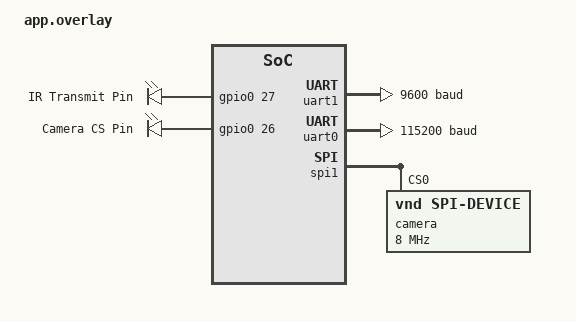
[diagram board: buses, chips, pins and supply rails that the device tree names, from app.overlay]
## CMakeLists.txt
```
# SPDX-License-Identifier: Apache-2.0

cmake_minimum_required(VERSION 3.20.0)
find_package(Zephyr REQUIRED HINTS $ENV{ZEPHYR_BASE})
project(base)

target_sources(app PRIVATE src/main.c)

target_sources(app PRIVATE src/ir.c)
target_sources(app PRIVATE src/cam.c)
```

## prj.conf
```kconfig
CONFIG_GPIO=y
CONFIG_SPI=y
CONFIG_PWM=y
CONFIG_PRINTK=y
CONFIG_SHELL=y
CONFIG_LOG=y
CONFIG_LOG_CMDS=y
CONFIG_INIT_STACKS=y
CONFIG_THREAD_STACK_INFO=y
CONFIG_KERNEL_SHELL=y
CONFIG_THREAD_MONITOR=y
CONFIG_BOOT_BANNER=n
CONFIG_THREAD_NAME=y
CONFIG_DEVICE_SHELL=y
CONFIG_POSIX_CLOCK=y
CONFIG_DATE_SHELL=y
CONFIG_THREAD_RUNTIME_STATS=y
CONFIG_THREAD_RUNTIME_STATS_USE_TIMING_FUNCTIONS=y
CONFIG_STATS=y
CONFIG_STATS_SHELL=y
CONFIG_SERIAL=y
CONFIG_UART_ASYNC_API=y
CONFIG_BT_SHELL=y
```

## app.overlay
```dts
&uart1 {
     status = "okay";
     current-speed = <9600>;
};

&uart0 {
     current-speed = <115200>;
};

/ {
     aliases {
          ir = &ir_send;
          cs = &cs_pin;
     };

     leds {
          ir_send: ir_send {
               status = "okay";
               gpios = <&gpio0 27 (GPIO_PULL_DOWN | GPIO_ACTIVE_HIGH)>;
               label = "IR Transmit Pin";
          };
          cs_pin: cs_pin {
               status = "okay";
               gpios = <&gpio0 26 (GPIO_PULL_DOWN | GPIO_ACTIVE_HIGH)>;
               label = "Camera CS Pin";
          };

          
     };
};

/ {
     data {
          aliases {
               irp = &irpwm;
          };

          irpwm: irpwm {
               pwms = <&pwm0 0 PWM_MSEC(20) PWM_POLARITY_NORMAL>;
               label = "irpwm";
          };
     };
};

&spi1 {
     status = "okay";
     pinctrl-0 = <&spi2_default>;
     pinctrl-1 = <&spi2_sleep>;
     pinctrl-names = "default", "sleep";
     camera: camera@0 {
             compatible = "vnd,spi-device";
             reg = <0>;
             spi-max-frequency = <8000000>;
             label = "camera";
     };
};

&pinctrl {
     spi1_default: spi1_default {
          group1 {
               psels = <NRF_PSEL(SPIM_SCK, 0, 31)>,
                    <NRF_PSEL(SPIM_MOSI, 0, 30)>,
                    <NRF_PSEL(SPIM_MISO, 1, 8)>;
          };
     };

     spi1_sleep: spi1_sleep {
          group1 {
               psels = <NRF_PSEL(SPIM_SCK, 0, 31)>,
                    <NRF_PSEL(SPIM_MOSI, 0, 30)>,
                    <NRF_PSEL(SPIM_MISO, 1, 8)>;
               low-power-enable;
          };
     };
};
```

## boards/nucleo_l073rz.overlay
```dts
/ {
    model = "Nordic nRF52840 DK NRF52840";
	compatible = "nordic,nrf52840-dk-nrf52840";

    ir_send: ir_trans {
        compatible = "nordic,nrf52840-dk-nrf52840";
        status = "okay";
        gpios = <&gpio0 27 GPIO_ACTIVE_LOW>;
        label = "IR Transmit Pin";
    };
};
```

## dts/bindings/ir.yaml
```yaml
# Copyright (c) 2023 Libre Solar Technologies GmbH
# SPDX-License-Identifier: Apache-2.0

description: GPIO pin to switch a power output on or off

compatible: "ir_trans"

properties:
  gpios:
    type: phandle-array
    required: true
    description: |
      The GPIO connected to the gate driver for the MOSFET.
```

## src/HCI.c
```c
#include "HCI.h"

/*
 * LEGACY CODE
 * Formats and sends a packer over UART
 */
void send_request(char *cmd, char *data) {
  int len = strlen(data);
  uart_poll_out(uart_pin, PREAMBLE);
  uart_poll_out(uart_pin, REQUEST << 4 | (2 + len));

  uart_poll_out(uart_pin, cmd[0]);
  uart_poll_out(uart_pin, cmd[1]);
  for (int i = 0; i < len; i++) {
    uart_poll_out(uart_pin, data[i]);
  }
  uart_poll_out(uart_pin, END);
}

/*
 * Formats a struct and sends it as a packet over UART
 */
void send_command(char *data) {
  struct packet test;
  int len = strlen(data);
  // Set predefined struct values
  test.preamble = 0xAA;
  test.typeSize = REQUEST << 4 | (2 + len);
  test.end = END;
  // Copies data argument to data field
  for (int i = 0; i < 32; ++i) {
    test.data[i] = data[i];
  }
  if (data[1] != 0xA7) {
    test.data[9] = 0;
  }

  // Converts struct to a str to be sent
  char buffer[sizeof(struct packet) + 1];
  memcpy(buffer, &test, sizeof(struct packet));
  // Send each byte of str
  for (int i = 0; i < 35; i++) {
    uart_poll_out(uart_pin, buffer[i]);
  }
}

/* receive buffer used in UART ISR callback */
static char rx_buf[MSG_SIZE];
static int rx_buf_pos;

/*
 * Read characters from UART until line end is detected. Afterwards push the
 * data to the message queue.
 */
char *serial_cb(const struct device *dev, void *user_data) {
  uint8_t c;

  if (!uart_irq_update(uart_pin)) {
    return NULL;
  }

  if (!uart_irq_rx_ready(uart_pin)) {
    return NULL;
  }

  /* read until FIFO empty */
  while (uart_fifo_read(uart_pin, &c, 1) == 1) {
    if ((c == '\n' || c == '\r') && rx_buf_pos > 0) {
      /* terminate string */
      rx_buf[rx_buf_pos] = '\0';

      /* if queue is full, message is silently dropped */
      // k_msgq_put(&uart_msgq, &rx_buf, K_NO_WAIT);

      /* reset the buffer (it was copied to the msgq) */
      rx_buf_pos = 0;
    } else if (rx_buf_pos < (sizeof(rx_buf) - 1)) {
      rx_buf[rx_buf_pos++] = c;
    }
    /* else: characters beyond buffer size are dropped */
  }
  return NULL;
}
```

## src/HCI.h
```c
#ifndef HCI_H_
#define HCI_H_

#include <stdio.h>
#include <stdlib.h>
#include <string.h>
#include <zephyr/drivers/gpio.h>
#include <zephyr/drivers/uart.h>
#include <zephyr/kernel.h>
#include <zephyr/shell/shell.h>

#ifdef __cplusplus
extern "C" {
#endif

#define UART_SHELL_NODE DT_CHOSEN(zephyr_shell_uart)
#define UART_PIN_NODE DT_NODELABEL(uart1)

#define PREAMBLE 0xAA
#define REQUEST 0x01
#define RESPONSE 0x02
#define END 0x55

#define LED_DID 1
#define PB_DID 2
#define DAC 3
#define LCP 4
#define TEMP 5
#define HUMID 6
#define AIR 7
#define TVOC 8
#define SD 13

#define MSG_SIZE 32

static const struct device *const uart_dev = DEVICE_DT_GET(UART_SHELL_NODE);
static const struct device *const uart_pin = DEVICE_DT_GET(UART_PIN_NODE);

extern struct packet {
  __uint8_t preamble;
  __uint8_t typeSize;
  __uint8_t data[32];
  __uint8_t end;
};

extern void send_request(char *cmd, char *data);
void send_command(char *data);
char *serial_cb(const struct device *dev, void *user_data);

#ifdef __cplusplus
}
#endif

#endif
```

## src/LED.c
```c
#include "LED.h"
#include "log.h"

/*
 * A build error on this line means your board is unsupported.
 * See the sample documentation for information on how to fix this.
 */
static const struct gpio_dt_spec led0 = GPIO_DT_SPEC_GET(LED0_NODE, gpios);
static const struct gpio_dt_spec led1 = GPIO_DT_SPEC_GET(LED1_NODE, gpios);
static const struct gpio_dt_spec led2 = GPIO_DT_SPEC_GET(LED2_NODE, gpios);
static const struct gpio_dt_spec led3 = GPIO_DT_SPEC_GET(LED3_NODE, gpios);
static const struct gpio_dt_spec LEDs[] = {led0, led1, led2, led3};

/* Create a set of commands. Commands to this set are added using @ref
 * SHELL_SUBCMD_ADD and @ref SHELL_SUBCMD_COND_ADD.
 */
SHELL_SUBCMD_SET_CREATE(sub_section_cmd0, (led));
/* Create a set of subcommands for "led". */
SHELL_SUBCMD_SET_CREATE(sub_section_cmd1, (led, s, t));

/* Add command to the set. Subcommand set is identify by parent shell command.
 */
SHELL_SUBCMD_ADD((led), s, &sub_section_cmd1, "Switch", switch_handler, 2, 0);
SHELL_SUBCMD_ADD((led), t, &sub_section_cmd1, "Toggle", toggle_handler, 2, 0);

SHELL_CMD_REGISTER(led, &sub_section_cmd0, "Control board LEDs", NULL);

/*
 * Switches LED to specified state
 */
void switch_handler(const struct shell *sh, size_t argc, char **argv) {
  ARG_UNUSED(sh);
  check_command(argc, argv);
  static int prev[4] = {0, 0, 0, 0};

  for (int i = 0; i < 4; i++) {
    if (argv[1][i] == 48) {
      gpio_pin_set_dt(&LEDs[i], 0);
      show_state(i, 0, prev[i]);
      prev[i] = 0;
    } else if (argv[1][i] == 49) {
      gpio_pin_set_dt(&LEDs[i], 1);
      show_state(i, 1, prev[i]);
      prev[i] = 1;
    }
  }
}

/*
 * Toggles specified LED
 */
void toggle_handler(const struct shell *sh, size_t argc, char **argv) {
  ARG_UNUSED(sh);
  check_command(argc, argv);
  int state = 0;

  for (int i = 0; i < 4; i++) {
    if (argv[1][i] == 49) {
      gpio_pin_toggle_dt(&LEDs[i]);
      state = gpio_pin_get_dt(&LEDs[i]);
      show_state(i, state, -1);
    }
  }
}

int LED_init(void) {
  // Init LEDs
  if (!gpio_is_ready_dt(&led0) || !gpio_is_ready_dt(&led1) ||
      !gpio_is_ready_dt(&led2) || !gpio_is_ready_dt(&led3)) {
    return 0;
  }

  if (gpio_pin_configure_dt(&led0, GPIO_OUTPUT_ACTIVE) < 0 ||
      gpio_pin_configure_dt(&led1, GPIO_OUTPUT_ACTIVE) < 0 ||
      gpio_pin_configure_dt(&led2, GPIO_OUTPUT_ACTIVE) < 0 ||
      gpio_pin_configure_dt(&led3, GPIO_OUTPUT_ACTIVE) < 0) {
    return 0;
  }
  return 1;
}
```

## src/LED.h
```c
#ifndef LED_H_
#define LED_H_

#include <stdlib.h>
#include <zephyr/drivers/gpio.h>
#include <zephyr/kernel.h>
#include <zephyr/shell/shell.h>

#ifdef __cplusplus
extern "C" {
#endif

/* The devicetree node identifier for the "led0" alias. */
#define LED0_NODE DT_ALIAS(led0)
#define LED1_NODE DT_ALIAS(led1)
#define LED2_NODE DT_ALIAS(led2)
#define LED3_NODE DT_ALIAS(led3)

void switch_handler(const struct shell *sh, size_t argc, char **argv);
void toggle_handler(const struct shell *sh, size_t argc, char **argv);
void led_handler(const struct shell *sh, size_t argc, char **argv);
extern int LED_init(void);

#ifdef __cplusplus
}
#endif

#endif
```

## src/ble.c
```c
#include "ble.h"

uint32_t last_write_rate;
struct bt_conn *conn_connected;
static sys_slist_t static_nodes;

SHELL_SUBCMD_SET_CREATE(sub_section_cmd2, (add));
SHELL_SUBCMD_SET_CREATE(sub_section_cmd4, (rmv));
SHELL_SUBCMD_SET_CREATE(sub_section_cmd6, (inspect));

struct node {
  char name[7];
  char mac[18];
  uint16_t major;
  uint16_t minor;
  uint8_t x_coord;
  uint8_t y_coord;
  char left_name[7];
  char right_name[7];
  sys_snode_t next;
};

struct node node_1;
struct node node_2;
struct node node_3;
struct node node_4;
struct node node_5;
struct node node_6;
struct node node_7;
struct node node_8;

/**
 * Handles device discovery and filtering
 */
static void device_found(const bt_addr_le_t *addr, int8_t rssi, uint8_t type,
                         struct net_buf_simple *ad) {
  char dev[BT_ADDR_LE_STR_LEN];
  char dev_reduce[BT_ADDR_LE_STR_LEN];

  bt_addr_le_to_str(addr, dev, sizeof(dev));
  strcpy(dev_reduce, dev);
  dev_reduce[17] = '\0';
  if (!strcmp("D4:7E:C0:32:90:82", dev_reduce)) {
    struct node *cur0;
    SYS_SLIST_FOR_EACH_CONTAINER(&static_nodes, cur0, next) {
      if (cur0->name[5] == ad->data[23]) {
        printf("bruv:%02X%02X%02X%02X\n", ad->data[22], ad->data[23],
               ad->data[24], ad->data[25]);
      }
    }
  }
}

/*
 * Initiallisies the scanning procedure
 */
void start_scan(void) {
  int err;

  /* Use active scanning and disable duplicate filtering to handle any
   * devices that might update their advertising data at runtime. */
  struct bt_le_scan_param scan_param = {
      .type = BT_LE_SCAN_TYPE_ACTIVE,
      .options = BT_LE_SCAN_OPT_NONE,
      .interval = BT_GAP_SCAN_FAST_INTERVAL,
      .window = BT_GAP_SCAN_FAST_WINDOW,
  };

  err = bt_le_scan_start(&scan_param, device_found);
  if (err) {
    printf("Scanning failed to start (err %d)\n", err);
    return;
  }

  printf("Scanning successfully started\n");
}

static void init_node_list(void) {
  sys_slist_init(&static_nodes);

  strcpy(node_1.name, "4011-A");
  strcpy(node_1.mac, "F5:75:FE:85:34:67");
  node_1.major = 2753;
  node_1.minor = 32998;
  node_1.x_coord = 0;
  node_1.y_coord = 0;

  strcpy(node_2.name, "4011-B");
  strcpy(node_2.mac, "E5:73:87:06:1E:86");
  node_2.major = 32975;
  node_2.minor = 20959;
  node_2.x_coord = 2;
  node_2.y_coord = 0;

  strcpy(node_3.name, "4011-C");
  strcpy(node_3.mac, "CA:99:9E:FD:98:B1");
  node_3.major = 26679;
  node_3.minor = 40363;
  node_3.x_coord = 4;
  node_3.y_coord = 0;

  strcpy(node_4.name, "4011-D");
  strcpy(node_4.mac, "CB:1B:89:82:FF:FE");
  node_4.major = 41747;
  node_4.minor = 38800;
  node_4.x_coord = 4;
  node_4.y_coord = 2;

  strcpy(node_5.name, "4011-E");
  strcpy(node_5.mac, "D4:D2:A0:A4:5C:AC");
  node_5.major = 30679;
  node_5.minor = 51963;
  node_5.x_coord = 4;
  node_5.y_coord = 4;

  strcpy(node_6.name, "4011-F");
  strcpy(node_6.mac, "C1:13:27:E9:B7:7C");
  node_6.major = 6195;
  node_6.minor = 18394;
  node_6.x_coord = 2;
  node_6.y_coord = 4;

  strcpy(node_7.name, "4011-G");
  strcpy(node_7.mac, "F1:04:48:06:39:A0");
  node_7.major = 30525;
  node_7.minor = 30544;
  node_7.x_coord = 0;
  node_7.y_coord = 4;

  strcpy(node_8.name, "4011-H");
  strcpy(node_8.mac, "CA:0C:E0:DB:CE:60");
  node_8.major = 57395;
  node_8.minor = 28931;
  node_8.x_coord = 0;
  node_8.y_coord = 2;
}

/*
 * Initialises bluetooth
 */
int bt_init(void) {
  init_node_list();
  int err;

  err = bt_enable(NULL);
  if (err) {
    printk("Bluetooth init failed (err %d)\n", err);
    return 0U;
  }
  printk("Bluetooth initialized\n");

  conn_connected = NULL;
  last_write_rate = 0U;
  return 0;
}

/**
 * Updates whole linked list with new neighbours
 */
void update_neighbours(void) {
  struct node *cur1;
  struct node *cur0;
  SYS_SLIST_FOR_EACH_CONTAINER(&static_nodes, cur0, next) {
    char right_node[8];
    int right_mag = 100; // Lowest positive magnitude is right neighbour
    int right_temp = 0;
    char left_node[8];
    int left_mag = 100; // Lowest negative magnitude is left neighbour
    int left_temp = 0;
    SYS_SLIST_FOR_EACH_CONTAINER(&static_nodes, cur1, next) {
      if (strcmp(cur0->name, cur1->name)) {
        // Set initial values
        if (strlen(right_node) == 0) {
          strcpy(right_node, cur1->name);
          strcpy(left_node, cur1->name);
        } else {
          // Get magnitude from target node without negatives
          left_temp = cur0->name[5] - cur1->name[5];
          if (left_temp < 0) {
            left_temp = left_temp + 8;
          }
          right_temp = cur1->name[5] % 8 + cur0->name[5] % 8;
          if (right_temp < cur0->name[5] % 8 * 2) {
            right_temp = right_temp + 8;
          }

          // Check if other ibeacon nodes have smaller magnitudes
          if (right_temp < right_mag) {
            // Save new neighbour and it's magnitude
            right_mag = right_temp;
            strcpy(right_node, cur1->name);
          }
          if (left_temp < left_mag) {
            left_mag = left_temp;
            strcpy(left_node, cur1->name);
          }
        }
      }
    }
    strcpy(cur0->left_name, left_node);
    strcpy(cur0->right_name, right_node);
  }
}

/**
 * Adds the selected node to the linked list
 */
void add_handler(const struct shell *sh, size_t argc, char **argv) {
  // Append the appropriate predefined node
  if (!strcmp(argv[1], "4011-A")) {
    sys_slist_append(&static_nodes, &node_1.next);
  } else if (!strcmp(argv[1], "4011-B")) {
    sys_slist_append(&static_nodes, &node_2.next);
  } else if (!strcmp(argv[1], "4011-C")) {
    sys_slist_append(&static_nodes, &node_3.next);
  } else if (!strcmp(argv[1], "4011-D")) {
    sys_slist_append(&static_nodes, &node_4.next);
  } else if (!strcmp(argv[1], "4011-E")) {
    sys_slist_append(&static_nodes, &node_5.next);
  } else if (!strcmp(argv[1], "4011-F")) {
    sys_slist_append(&static_nodes, &node_6.next);
  } else if (!strcmp(argv[1], "4011-G")) {
    sys_slist_append(&static_nodes, &node_7.next);
  } else if (!strcmp(argv[1], "4011-H")) {
    sys_slist_append(&static_nodes, &node_8.next);
  } else {
    printf("[nrf] [ERR] Not a valid node\n");
  }
  update_neighbours();
}

/**
 * Removes the selected node to the linked list
 */
void rmv_handler(const struct shell *sh, size_t argc, char **argv) {
  // Remove the appropriate predefined node
  if (!strcmp(argv[1], "4011-A")) {
    sys_slist_find_and_remove(&static_nodes, &node_1.next);
  } else if (!strcmp(argv[1], "4011-B")) {
    sys_slist_find_and_remove(&static_nodes, &node_2.next);
  } else if (!strcmp(argv[1], "4011-C")) {
    sys_slist_find_and_remove(&static_nodes, &node_3.next);
  } else if (!strcmp(argv[1], "4011-D")) {
    sys_slist_find_and_remove(&static_nodes, &node_4.next);
  } else if (!strcmp(argv[1], "4011-E")) {
    sys_slist_find_and_remove(&static_nodes, &node_5.next);
  } else if (!strcmp(argv[1], "4011-F")) {
    sys_slist_find_and_remove(&static_nodes, &node_6.next);
  } else if (!strcmp(argv[1], "4011-G")) {
    sys_slist_find_and_remove(&static_nodes, &node_7.next);
  } else if (!strcmp(argv[1], "4011-H")) {
    sys_slist_find_and_remove(&static_nodes, &node_8.next);
  } else {
    printf("[nrf] [ERR] Not a valid node\n");
  }
  update_neighbours();
}

/**
 * Displays all ibeacon node details for a specified node name, or all nodes if
 * -a is included
 */
void inspect_handler(const struct shell *sh, size_t argc, char **argv) {
  struct node *cur;
  SYS_SLIST_FOR_EACH_CONTAINER(&static_nodes, cur, next) {
    if (!strcmp(argv[1], "-a")) {
      printf("[nrf] Name: %s, BLE Addr: %s, Major: %d, Minor: %d, Coord: [%d, "
             "%d], "
             "Left Node: %s, Right Node: %s\n",
             cur->name, cur->mac, cur->major, cur->minor, cur->x_coord,
             cur->y_coord, cur->left_name, cur->right_name);
    } else if (!strcmp(argv[1], cur->name)) {
      printf("[nrf] Name: %s, BLE Addr: %s, Major: %d, Minor: %d, Coord: [%d, "
             "%d], "
             "Left Node: %s, Right Node: %s\n",
             cur->name, cur->mac, cur->major, cur->minor, cur->x_coord,
             cur->y_coord, cur->left_name, cur->right_name);
    }
  }
}

SHELL_SUBCMD_SET_CREATE(sub_section_cmd1, (add, name, mac, maj, min, x, y));
SHELL_SUBCMD_SET_CREATE(sub_section_cmd3, (rmv, name));
SHELL_SUBCMD_SET_CREATE(sub_section_cmd5, (inspect, a));

SHELL_CMD_REGISTER(add, &sub_section_cmd2, "Add an ibeacon node", add_handler);
SHELL_CMD_REGISTER(rmv, &sub_section_cmd4, "Remove an ibeacon node",
                   rmv_handler);
SHELL_CMD_REGISTER(inspect, &sub_section_cmd6,
                   "View an ibeacon node details (use -a to view all)",
                   inspect_handler);
```

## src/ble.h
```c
#ifndef BLE_H_
#define BLE_H_

#include <zephyr/kernel.h>
#include <zephyr/sys/printk.h>

#include <zephyr/bluetooth/bluetooth.h>
#include <zephyr/bluetooth/conn.h>
#include <zephyr/bluetooth/gatt.h>
#include <zephyr/shell/shell.h>
#include <zephyr/sys/slist.h>

#ifdef __cplusplus
extern "C" {
#endif

extern void start_scan(void);
extern int bt_init(void);

#ifdef __cplusplus
}
#endif

#endif
```

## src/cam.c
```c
#include "cam.h"

#define SPI_OP  SPI_OP_MODE_MASTER |SPI_MODE_CPOL | SPI_MODE_CPHA | SPI_WORD_SET(8) | SPI_LINES_SINGLE
#define BUF_SIZE 32

static const struct gpio_dt_spec gpio_dev= GPIO_DT_SPEC_GET(DT_NODELABEL(cs_pin), gpios);
const struct spi_dt_spec cam_dev = SPI_DT_SPEC_GET(DT_NODELABEL(camera), SPI_OP, 0);

static __aligned(32) char buffer_tx[BUF_SIZE];
static __aligned(32) char buffer_rx[BUF_SIZE];


const struct spi_buf tx_bufs[] = {
	/* According to documentation, when sending NULL tx buf -
	 *  NOP frames should be sent on MOSI line
	 */
	{
		.buf = buffer_tx,
		.len = BUF_SIZE,
	},
};
const struct spi_buf rx_bufs[] = {
	{
		.buf = buffer_rx,
		.len = BUF_SIZE,
	},
};
const struct spi_buf_set tx = {
	.buffers = tx_bufs,
	.count = ARRAY_SIZE(tx_bufs)
};
const struct spi_buf_set rx = {
	.buffers = rx_bufs,
	.count = ARRAY_SIZE(rx_bufs)
};

void cam_init(void) {
    int ret;
	printf("Camera Initialising\n");

    /* Setup CS Pin */
    if (!gpio_is_ready_dt(&gpio_dev)) {
        printf("Error: GPIO device not found\n");
        return;
    }

    ret = gpio_pin_configure_dt(&gpio_dev, GPIO_OUTPUT_ACTIVE);
	if (ret < 0) {
		return;
	}
	gpio_pin_set_dt(&gpio_dev, 1);

	/* Setup SPI pins*/

    ret = spi_read_dt(&cam_dev, &rx);
    if (ret) { printf("spi_read status: %d", ret); }
	/* Turn camera on */
	memset(buffer_tx, 0x0205, BUF_SIZE);
	gpio_pin_set_dt(&gpio_dev, 0);
	ret = spi_write_dt(&cam_dev, &tx);
	if (ret) { printf("spi_read status: %d", ret); }
	gpio_pin_set_dt(&gpio_dev, 1);
	k_sleep(K_MSEC(10));
	/* Set resolution */
	memset(buffer_tx, 0x2101, BUF_SIZE);
	gpio_pin_set_dt(&gpio_dev, 0);
	spi_write_dt(&cam_dev, &tx);
	gpio_pin_set_dt(&gpio_dev, 1);
	printf("Camera Initialised\n");
}

void write_cmd(void) {
	int ret;
	memset(buffer_tx, 0x0681, BUF_SIZE);
	gpio_pin_set_dt(&gpio_dev, 0);
	spi_write_dt(&cam_dev, &tx);
	gpio_pin_set_dt(&gpio_dev, 1);

	gpio_pin_set_dt(&gpio_dev, 0);
	ret = spi_read_dt(&cam_dev, &rx);
	if (ret) { printf("spi_read status: %d", ret); }
	k_sleep(K_MSEC(1000));
	gpio_pin_set_dt(&gpio_dev, 1);


	printf("trying to read: %x\n", (int)buffer_rx);
}
```

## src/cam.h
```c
#ifndef CAM_H_
#define CAM_H_

#include <stdio.h>
#include <zephyr/devicetree.h>
#include <zephyr/drivers/spi.h>
#include <zephyr/drivers/gpio.h>
#include <zephyr/kernel.h>
#include <zephyr/device.h>

#ifdef __cplusplus
extern "C" {
#endif

void cam_init(void);
void write_cmd(void);

#ifdef __cplusplus
}
#endif

#endif
```

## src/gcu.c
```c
#include "gcu.h"
#include "log.h"

/* Create a set of commands. Commands to this set are added using @ref
 * SHELL_SUBCMD_ADD and @ref SHELL_SUBCMD_COND_ADD.
 */
SHELL_SUBCMD_SET_CREATE(sub_section_cmd4, (point));
SHELL_SUBCMD_SET_CREATE(sub_section_cmd6, (circle));
SHELL_SUBCMD_SET_CREATE(sub_section_cmd8, (lj));
SHELL_SUBCMD_SET_CREATE(sub_section_cmd10, (dac));
SHELL_SUBCMD_SET_CREATE(sub_section_cmd12, (gled));
SHELL_SUBCMD_SET_CREATE(sub_section_cmd14, (gpb));
// SHELL_SUBCMD_SET_CREATE(sub_section_cmd16, (blescan));
// SHELL_SUBCMD_SET_CREATE(sub_section_cmd18, (blecon));
SHELL_SUBCMD_SET_CREATE(sub_section_cmd20, (gcugraph));
SHELL_SUBCMD_SET_CREATE(sub_section_cmd22, (gcumeter));
SHELL_SUBCMD_SET_CREATE(sub_section_cmd24, (gcunumeric));
SHELL_SUBCMD_SET_CREATE(sub_section_cmd26, (gcurec));

struct sensorPlot flags;

/*
 * Creates point at specified coordinate
 */
void point_handler(const struct shell *sh, size_t argc, char **argv) {
  ARG_UNUSED(sh);
  if (check_command(argc, argv)) {
    return;
  }
  char buffer[1024];
  char x[4];
  char y[4];
  /* If input number is single digit, add .0 to string */
  if (!strchr(argv[1], '.')) {
    snprintf(x, 4, "%c.0", argv[1][0]);
  } else {
    strcpy(x, argv[1]);
  }
  if (!strchr(argv[2], '.')) {
    snprintf(y, 4, "%c.0", argv[2][0]);
  } else {
    strcpy(y, argv[2]);
  }
  snprintf(buffer, sizeof(buffer), "%c%c%c%c%c%c", x[0], x[1], x[2], y[0], y[1],
           y[2]);
  send_request("PO", buffer);
}

/*
 * Creates circle at specified coordinate
 */
void circle_handler(const struct shell *sh, size_t argc, char **argv) {
  ARG_UNUSED(sh);
  if (check_command(argc, argv)) {
    return;
  }
  char buffer[1024];
  char x[4];
  char y[4];
  char r[4];
  /* If input number is single digit, add .0 to string */
  if (!strchr(argv[1], '.')) {
    snprintf(r, 4, "%c.0", argv[1][0]);
  } else {
    strcpy(r, argv[1]);
  }
  if (!strchr(argv[2], '.')) {
    snprintf(x, 4, "%c.0", argv[2][0]);
  } else {
    strcpy(x, argv[2]);
  }
  if (!strchr(argv[3], '.')) {
    snprintf(y, 4, "%c.0", argv[3][0]);
  } else {
    strcpy(y, argv[3]);
  }
  snprintf(buffer, sizeof(buffer), "%c%c%c%c%c%c%c%c%c", r[0], r[1], r[2], x[0],
           x[1], x[2], y[0], y[1], y[2]);
  send_request("CI", buffer);
}

/*
 * Create curve at specified coordinate
 */
void lj_handler(const struct shell *sh, size_t argc, char **argv) {
  ARG_UNUSED(sh);
  if (check_command(argc, argv)) {
    return;
  }
  char buffer[1024];
  char a[4];
  char b[4];
  char t[4];
  /* If input number is single digit, add .0 to string */
  if (!strchr(argv[1], '.')) {
    snprintf(a, 4, "%c.0", argv[1][0]);
  } else {
    strcpy(a, argv[1]);
  }
  if (!strchr(argv[2], '.')) {
    snprintf(b, 4, "%c.0", argv[2][0]);
  } else {
    strcpy(b, argv[2]);
  }
  if (!strchr(argv[3], '.')) {
    snprintf(t, 4, "%c.0", argv[3][0]);
  } else {
    strcpy(t, argv[3]);
  }
  snprintf(buffer, sizeof(buffer), "%c%c%c%c%c%c%c%c%c", a[0], a[1], a[2], b[0],
           b[1], b[2], t[0], t[1], t[2]);
  send_request("LJ", buffer);
}

/*
 * Sets dac to a specific voltage
 */
void dac_handler(const struct shell *sh, size_t argc, char **argv) {
  ARG_UNUSED(sh);
  if (check_command(argc, argv)) {
    return;
  }
  char buffer[1024];
  char x[4];
  char y[4];
  /* If input number is single digit, add .0 to string */
  if (!strchr(argv[1], '.')) {
    snprintf(x, 4, "%c.0", argv[1][0]);
  } else {
    strcpy(x, argv[1]);
  }
  if (!strchr(argv[2], '.')) {
    snprintf(y, 4, "%c.0", argv[2][0]);
  } else {
    strcpy(y, argv[2]);
  }
  snprintf(buffer, sizeof(buffer), "%c%c%c%c%c%c", x[0], x[1], x[2], y[0], y[1],
           y[2]);
  send_request("DA", buffer);
}

/*
 * Toggles the GCUs LEDs
 */
void gled_handler(const struct shell *sh, size_t argc, char **argv) {
  ARG_UNUSED(sh);
  if (check_command(argc, argv)) {
    return;
  }
  char buffer[1024];
  char r[4];
  char g[4];
  char b[4];
  /* If input number is single digit, add .0 to string */
  if (!strchr(argv[1], '.')) {
    snprintf(r, 4, "%c.0", argv[1][0]);
  } else {
    strcpy(r, argv[1]);
  }
  if (!strchr(argv[2], '.')) {
    snprintf(g, 4, "%c.0", argv[2][0]);
  } else {
    strcpy(g, argv[2]);
  }
  if (!strchr(argv[3], '.')) {
    snprintf(b, 4, "%c.0", argv[3][0]);
  } else {
    strcpy(b, argv[3]);
  }
  snprintf(buffer, sizeof(buffer), "%c%c%c%c%c%c%c%c%c", r[0], r[1], r[2], g[0],
           g[1], g[2], b[0], b[1], b[2]);
  send_request("GL", buffer);
}

/*
 * Requests for push button status on GCU
 */
void gpd_handler(const struct shell *sh, size_t argc, char **argv) {
  ARG_UNUSED(sh);
  if (check_command(argc, argv)) {
    return;
  }
  char buffer[1024];
  send_request("GP", buffer);
}

/*
 * Scans for bluetooth connections with a filtered address
 */
void blescan_f_handler(const struct shell *sh, size_t argc, char **argv) {
  ARG_UNUSED(sh);
  ARG_UNUSED(argc);
  ARG_UNUSED(argv);
  shell_print(sh, "ble f\n");
}
/*
 * Scans for all bluetooth connections
 */
void blescan_handler(const struct shell *sh, size_t argc, char **argv) {
  ARG_UNUSED(sh);
  ARG_UNUSED(argc);
  ARG_UNUSED(argv);
  shell_print(sh, "ble non f\n");
}

/*
 * Commences recieval of sensor data from connected device
 */
void blecon_handler(const struct shell *sh, size_t argc, char **argv) {
  ARG_UNUSED(sh);
  ARG_UNUSED(argc);
  ARG_UNUSED(argv);
  shell_print(sh, "blecon p\n");
}

/*
 * Halts data flow from connected device
 */
void blecon_s_handler(const struct shell *sh, size_t argc, char **argv) {
  ARG_UNUSED(sh);
  ARG_UNUSED(argc);
  ARG_UNUSED(argv);
  shell_print(sh, "blecon p\n");
}

/*
 * Informs GCU to plot the sensor data to a graph
 */
void gcugraph_handler(const struct shell *sh, size_t argc, char **argv) {
  ARG_UNUSED(sh);
  ARG_UNUSED(argc);
  char buffer[32] = {0};
  flags.display = GRAPH;
  buffer[0] = GRAPH;
  // Add sensor device to data field
  if (!strcmp("Temp", argv[1])) {
    flags.sensor = TEMP;
    buffer[1] = TEMP;
  } else if (!strcmp("Humidity", argv[1])) {
    flags.sensor = HUMID;
    buffer[1] = HUMID;
  } else if (!strcmp("Pressure", argv[1])) {
    flags.sensor = AIR;
    buffer[1] = AIR;
  } else if (!strcmp("TVOC", argv[1])) {
    flags.sensor = TVOC;
    buffer[1] = TVOC;
  }
  send_command(buffer);
}

/*
 * Informs the GCU to plot the sensor data as a meter
 */
void gcumeter_handler(const struct shell *sh, size_t argc, char **argv) {
  ARG_UNUSED(sh);
  ARG_UNUSED(argc);
  char buffer[32] = {0};
  flags.display = METER;
  buffer[0] = METER;
  // Add sensor device to data field
  if (!strcmp("Temp", argv[1])) {
    flags.sensor = TEMP;
    buffer[1] = TEMP;
  } else if (!strcmp("Humidity", argv[1])) {
    flags.sensor = HUMID;
    buffer[1] = HUMID;
  } else if (!strcmp("Pressure", argv[1])) {
    flags.sensor = AIR;
    buffer[1] = AIR;
  } else if (!strcmp("TVOC", argv[1])) {
    flags.sensor = TVOC;
    buffer[1] = TVOC;
  }
  send_command(buffer);
}

/*
 * Informs the GCU to plot the sensor data as numerical
 */
void gcunumeric_handler(const struct shell *sh, size_t argc, char **argv) {
  ARG_UNUSED(sh);
  ARG_UNUSED(argc);
  char buffer[32] = {0};
  flags.display = NUMERIC;
  buffer[0] = NUMERIC;
  // Add sensor device to data field
  if (!strcmp("Temp", argv[1])) {
    flags.sensor = TEMP;
    buffer[1] = TEMP;
  } else if (!strcmp("Humidity", argv[1])) {
    flags.sensor = HUMID;
    buffer[1] = HUMID;
  } else if (!strcmp("Pressure", argv[1])) {
    flags.sensor = AIR;
    buffer[1] = AIR;
  } else if (!strcmp("TVOC", argv[1])) {
    flags.sensor = TVOC;
    buffer[1] = TVOC;
  }
  send_command(buffer);
}

/*
 * Tells GCU to save sensor data to a file name specified in arguments
 */
void gcurec_handler(const struct shell *sh, size_t argc, char **argv) {
  ARG_UNUSED(sh);
  ARG_UNUSED(argc);
  char buffer[32] = {0};
  buffer[0] = SD;
  flags.display = SD;
  // Add sensor device to data field
  if (!strcmp("-s", argv[1])) {
    buffer[1] = 0xA7;
    flags.sensor = 0xA9;
  } else if (!strcmp("-p", argv[1])) {
    buffer[1] = 0xA8;
    flags.sensor = 0xA8;
  }
  // Saves file name to appropriate location in buffer
  for (int i = 0; i < strlen(argv[3]) + 1; i++) {
    buffer[i + 2] = argv[3][i];
  }
  send_command(buffer);
}

/* Create a set of subcommands for "section_cmd cm1". */
SHELL_SUBCMD_SET_CREATE(sub_section_cmd5, (point, x, y));
SHELL_SUBCMD_SET_CREATE(sub_section_cmd7, (circle, r, x, y));
SHELL_SUBCMD_SET_CREATE(sub_section_cmd9, (lj, a, b, t));
SHELL_SUBCMD_SET_CREATE(sub_section_cmd11, (dac, x, y));
SHELL_SUBCMD_SET_CREATE(sub_section_cmd13, (gled, r, g, b));
SHELL_SUBCMD_SET_CREATE(sub_section_cmd15, (gpb));
// SHELL_SUBCMD_SET_CREATE(sub_section_cmd17, (blescan, s, f, addr));
// SHELL_SUBCMD_SET_CREATE(sub_section_cmd19, (blecon, s, addr));
SHELL_SUBCMD_SET_CREATE(sub_section_cmd21, (gcugraph, id));
SHELL_SUBCMD_SET_CREATE(sub_section_cmd23, (gcumeter, id));
SHELL_SUBCMD_SET_CREATE(sub_section_cmd25, (gcunumeric, id));
SHELL_SUBCMD_SET_CREATE(sub_section_cmd27, (gcurec, s, id, name));

/* Add command to the set. Subcommand set is identify by parent shell command.
 */
// SHELL_SUBCMD_ADD((blescan), f, &sub_section_cmd17, "Filtered BLE scan",
// blescan_f_handler, 1, 0); SHELL_SUBCMD_ADD((blecon), addr,
// &sub_section_cmd19, "Start recieving", blecon_handler, 1, 0);

SHELL_CMD_REGISTER(point, &sub_section_cmd4, "Draw a point at [x, y]",
                   point_handler);
SHELL_CMD_REGISTER(circle, &sub_section_cmd6,
                   "Draw a circle with radius r with a center at [x,y]",
                   circle_handler);
SHELL_CMD_REGISTER(lj, &sub_section_cmd8,
                   "Set the a and b parameters for the Lissajous curve",
                   lj_handler);
SHELL_CMD_REGISTER(dac, &sub_section_cmd10,
                   "Set voltage values on the X and Y DACs", dac_handler);
SHELL_CMD_REGISTER(gled, &sub_section_cmd12, "Toggle the GCU (c) User LEDs",
                   gled_handler);
SHELL_CMD_REGISTER(gpd, &sub_section_cmd14,
                   "Read GCU pushbutton state (0 or 1)", gpd_handler);
// SHELL_CMD_REGISTER(blescan, &sub_section_cmd16,
//				   "Scan for bluetooth devices",
// blescan_handler); SHELL_CMD_REGISTER(blecon, &sub_section_cmd18,
// "Recieves sensor data from selected device", blecon_s_handler);
SHELL_CMD_REGISTER(gcugraph, &sub_section_cmd20,
                   "Displays selected sensor values as a graph plot",
                   gcugraph_handler);
SHELL_CMD_REGISTER(gcumeter, &sub_section_cmd22,
                   "Displays selected sensor values as a meter widget",
                   gcumeter_handler);
SHELL_CMD_REGISTER(gcunumeric, &sub_section_cmd24,
                   "Displays selected sensor values as a numeric value",
                   gcunumeric_handler);
SHELL_CMD_REGISTER(gcurec, &sub_section_cmd26,
                   "Start continuously recording the selected sensor values",
                   gcurec_handler);
```

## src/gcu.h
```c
#ifndef GCU_H_
#define GCU_H_

#include <stdlib.h>
#include <zephyr/drivers/gpio.h>
#include <zephyr/drivers/uart.h>
#include <zephyr/kernel.h>
#include <zephyr/shell/shell.h>

#include "HCI.h"

#ifdef __cplusplus
extern "C" {
#endif

#define GRAPH 1
#define METER 2
#define NUMERIC 3
#define TEMP 5
#define HUMID 6
#define AIR 7
#define TVOC 8
#define SD 13

struct sensorPlot {
  __uint8_t sensor;
  __uint8_t display;
};

void point_handler(const struct shell *sh, size_t argc, char **argv);
void circle_handler(const struct shell *sh, size_t argc, char **argv);
void lj_handler(const struct shell *sh, size_t argc, char **argv);
void dac_handler(const struct shell *sh, size_t argc, char **argv);
void gled_handler(const struct shell *sh, size_t argc, char **argv);
void gpd_handler(const struct shell *sh, size_t argc, char **argv);

#ifdef __cplusplus
}
#endif

#endif
```

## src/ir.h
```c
#ifndef IR_H_
#define IR_H_

#include <stdio.h>

#include <zephyr/devicetree.h>
#include <zephyr/drivers/gpio.h>
#include <zephyr/drivers/pwm.h>
#include <zephyr/kernel.h>
#include <zephyr/device.h>
#include <zephyr/sys/printk.h>

#ifdef __cplusplus
extern "C" {
#endif

#define IR_PIN 27

struct packet {
  __uint8_t preambleType;
  __uint8_t data[32];
  __uint8_t end;
};


void gpio_init(void);
void ir_transmit(uint8_t data);
void send_command(struct packet *payload);
void pwm_init(void);

#ifdef __cplusplus
}
#endif

#endif
```
